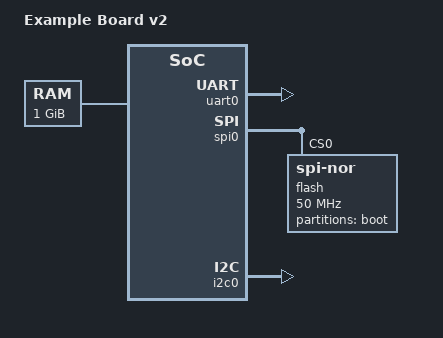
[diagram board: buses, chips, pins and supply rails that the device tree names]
/* Modified Device Tree Source file for testing */

/dts-v1/;

/ {
    model = "Example Board v2"; // Updated board identifier
    compatible = "vendor,example-board-v2";
    
    /* Memory configuration - upgraded */
    memory@80000000 {
        device_type = "memory";
        reg = <0x80000000 0x40000000>; // 1GB RAM - doubled
    };
    
    cpus {
        #address-cells = <1>;
        #size-cells = <0>;
        
        cpu@0 {
            device_type = "cpu";
            compatible = "arm,cortex-a15"; // Upgraded CPU
            reg = <0>;
        };
        
        // Second CPU core - also upgraded
        cpu@1 {
            device_type = "cpu";
            compatible = "arm,cortex-a15";
            reg = <1>;
        };
        
        // Added third CPU core
        cpu@2 {
            device_type = "cpu";
            compatible = "arm,cortex-a15";
            reg = <2>;
        };
    };
    
    /* 
     * Peripheral bus configuration
     * Enhanced with additional peripherals
     */
    peripheral_bus: bus@40000000 {
        compatible = "simple-bus";
        #address-cells = <1>;
        #size-cells = <1>;
        ranges = <0x40000000 0x40000000 0x20000000>;
        
        uart0: serial@40001000 {
            compatible = "vendor,uart-v2"; // Updated UART
            reg = <0x40001000 0x1000>;
            interrupts = <20>;
            status = "okay";
            clock-frequency = <115200>; // Added clock config
        };
        
        // Enhanced SPI controller
        spi0: spi@40002000 {
            compatible = "vendor,spi-v2";
            reg = <0x40002000 0x1000>;
            interrupts = <21>;
            #address-cells = <1>;
            #size-cells = <0>;
            
            /* Larger SPI flash device */
            flash@0 {
                compatible = "jedec,spi-nor";
                reg = <0>;
                spi-max-frequency = <50000000>; // Doubled frequency
                partitions {
                    compatible = "fixed-partitions";
                    #address-cells = <1>;
                    #size-cells = <1>;
                    
                    boot@0 {
                        label = "boot";
                        reg = <0x0 0x100000>;
                    };
                };
            };
        };
        
        /* New I2C controller */
        i2c0: i2c@40003000 {
            compatible = "vendor,i2c";
            reg = <0x40003000 0x1000>;
            interrupts = <22>;
            #address-cells = <1>;
            #size-cells = <0>;
        };
    };
};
